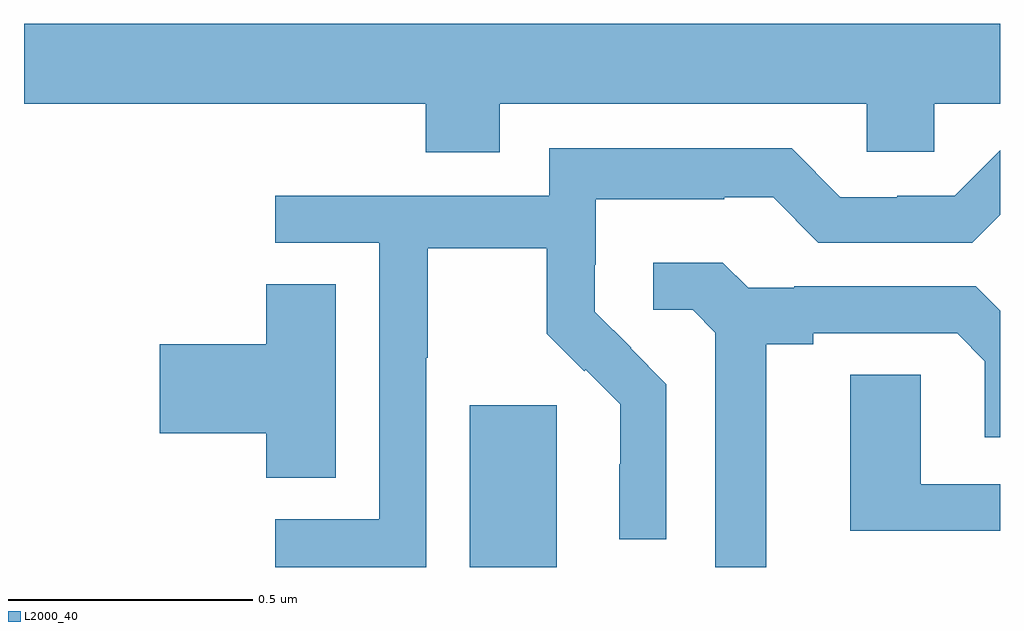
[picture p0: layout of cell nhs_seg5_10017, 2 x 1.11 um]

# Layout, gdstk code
import gdstk
lib = gdstk.Library(unit=1e-6, precision=1e-09)
def R(c, l, rs):  # rectangles x0, y0, x1, y1
    for r in rs: c.add(gdstk.rectangle(r[:2], r[2:], *l))
def P(c, l, *ps):  # polygons
    for p in ps: c.add(gdstk.Polygon(p, *l))
L2000_40 = (2000, 40)

nhs_seg5_10017 = lib.new_cell('nhs_seg5_10017')
R(nhs_seg5_10017, L2000_40, [(241.913,867.799,242.092,868.131)])
P(nhs_seg5_10017, L2000_40, [(241.975,868.748),(242.727,868.748),(242.727,868.65),(242.865,868.65),(242.865,868.748),(243,868.748),(243,868.912),(241,868.912),(241,868.748),(241.823,868.748),(241.823,868.649),(241.975,868.649)],
  [(241.824,868.228),(241.827,868.228),(241.827,868.452),(242.071,868.452),(242.071,868.277),(242.148,868.2),(242.151,868.203),(242.222,868.133),(242.222,868.01),(242.22,868.01),(242.22,867.856),(242.316,867.856),(242.316,868.174),(242.243,868.247),(242.244,868.248),(242.17,868.322),(242.17,868.419),(242.172,868.419),(242.172,868.553),(242.435,868.553),(242.435,868.557),(242.535,868.557),(242.628,868.464),(242.943,868.464),(243,868.521),(243,868.653),(242.907,868.56),(242.789,868.56),(242.789,868.557),(242.673,868.557),(242.573,868.657),(242.076,868.657),(242.076,868.56),(241.515,868.56),(241.515,868.464),(241.728,868.464),(241.728,867.897),(241.515,867.897),(241.515,867.799),(241.824,867.799)],
  [(242.521,868.256),(242.617,868.256),(242.617,868.278),(242.912,868.278),(242.969,868.221),(242.969,868.065),(243,868.065),(243,868.324),(242.95,868.374),(242.578,868.374),(242.578,868.371),(242.484,868.371),(242.432,868.423),(242.289,868.423),(242.289,868.326),(242.37,868.326),(242.417,868.279),(242.417,867.799),(242.521,867.799)],
  [(241.639,868.379),(241.496,868.379),(241.496,868.256),(241.278,868.256),(241.278,868.073),(241.496,868.073),(241.496,867.982),(241.639,867.982)],
  [(243,867.969),(242.838,867.969),(242.838,868.193),(242.693,868.193),(242.693,867.873),(243,867.873)])

lib.write_gds('nhs_seg5_10017.gds')
